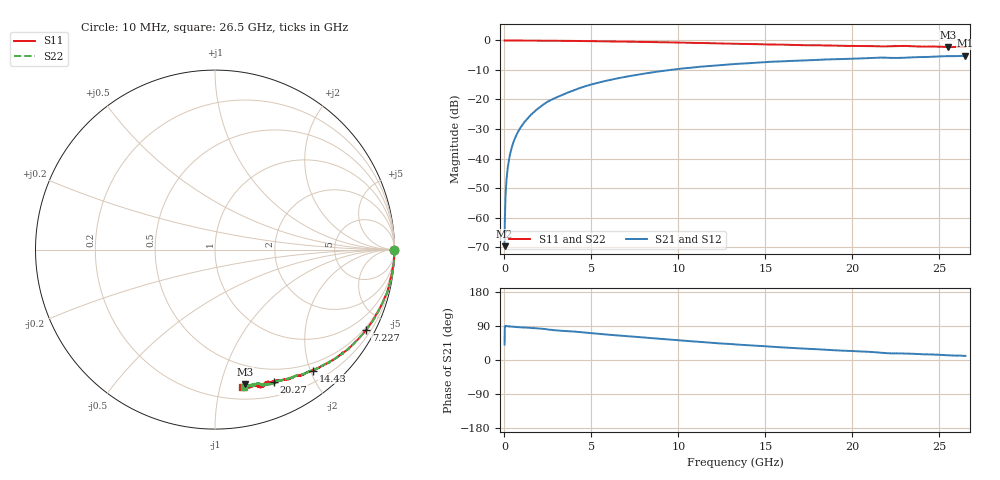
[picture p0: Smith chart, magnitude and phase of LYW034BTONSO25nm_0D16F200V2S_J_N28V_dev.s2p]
!Keysight Technologies,N5222B,MY61253708,A.15.00.15
!Date: Wednesday, June 19, 2024 08:53:33
!Correction: S11(C  2-Port  )
!S21(C  2-Port  )
!S12(C  2-Port  )
!S22(C  2-Port  )
!S2P File: Measurements: S11, S21, S12, S22:
# Hz S  RI  R 50
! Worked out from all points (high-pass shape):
!   2651 points, 10 MHz to 26.5 GHz, reference 50 ohm
!   highest |S21| = -5.16 dB at 26.5 GHz (marker M1); lowest = -69.7 dB at 10 MHz (marker M2)
!   |S21| within 3 dB of the highest: 12.81738 GHz to 12.85331 GHz (35.93 MHz wide, 0.28 % of centre); 12.86 GHz to end of sweep
!   lowest |S11| = -2.3 dB at 25.5 GHz (marker M3), VSWR 7.68, Z = 16.2 - j59.8 ohm
!   |S11| at or under -10 dB: nowhere
!   |S22| runs from -2.2 to 0.0 dB; largest |S21 - S12| = 0.0076
!   S11 on the Smith chart (normalised r, x): 10 MHz: open; 7.227 GHz: 0.40, -3.97; 14.43 GHz: 0.38, -2.04; 20.27 GHz: 0.35, -1.48; 26.5 GHz: 0.30, -1.17
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1e7  0.9989 -0.00224  0.000248 0.000214  -0.000282 0.000276  0.9985 -0.00104
6.997736e7  1 -0.00539  -8.21e-07 0.00258  8.9e-06 0.00262  0.9996 -0.005
1.599434e8  0.9997 -0.0121  8.69e-05 0.00584  7.72e-05 0.00588  0.9996 -0.0114
1.999283e8  0.9999 -0.0145  0.000117 0.00732  9.91e-05 0.00733  0.9996 -0.0138
2.599057e8  0.9994 -0.019  0.000133 0.00956  0.000181 0.00952  0.9994 -0.0182
3.598679e8  0.9992 -0.0263  0.000361 0.0131  0.000336 0.0132  0.9992 -0.0255
4.898189e8  0.9986 -0.0354  0.00066 0.0178  0.000631 0.0179  0.9988 -0.0343
6.497585e8  0.9981 -0.0464  0.00115 0.0236  0.00111 0.0237  0.9982 -0.0452
8.396868e8  0.9974 -0.0596  0.00182 0.0303  0.00184 0.0305  0.9977 -0.0592
1.449457e9  0.9891 -0.1036  0.00442 0.0525  0.00448 0.0527  0.9917 -0.1001
2.329125e9  0.9786 -0.1609  0.0122 0.0849  0.0124 0.0854  0.9801 -0.1614
3.138819e9  0.9656 -0.2154  0.0244 0.111  0.0246 0.1116  0.9666 -0.214
4.428332e9  0.9336 -0.2955  0.0458 0.1532  0.0461 0.154  0.9354 -0.2927
7.227275e9  0.842 -0.4473  0.1167 0.221  0.1181 0.2219  0.8435 -0.4463
8.846664e9  0.7779 -0.5187  0.1652 0.2478  0.1666 0.2486  0.7797 -0.517
1.3255e10  0.5917 -0.6499  0.3 0.2629  0.3021 0.2628  0.5954 -0.6487
1.443455e10  0.5463 -0.6737  0.3309 0.2561  0.3328 0.2558  0.548 -0.6697
1.767333e10  0.4157 -0.7174  0.4058 0.225  0.4091 0.2237  0.4272 -0.7155
2.027235e10  0.3287 -0.7366  0.4548 0.1932  0.4571 0.1911  0.3469 -0.7383
2.209166e10  0.2834 -0.7405  0.4839 0.1558  0.4854 0.1537  0.278 -0.7476
2.550038e10  0.1678 -0.751  0.5288 0.115  0.5301 0.116  0.1886 -0.7565
2.65e10  0.1501 -0.7656  0.5419 0.1039  0.5408 0.1009  0.1628 -0.7654
